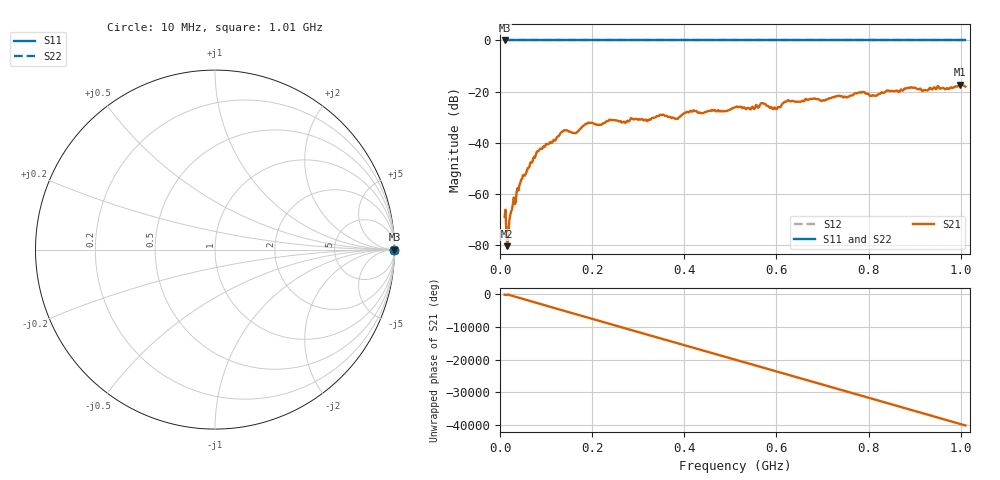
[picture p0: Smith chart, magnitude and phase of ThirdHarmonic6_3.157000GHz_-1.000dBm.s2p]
! 8/17/2025 9:28:12 AM
! C:\ANRITSUVNA\TEMP\TEMP.S2P
! CHANNEL.1
! TR.MEASUREMENT
! RAW.DATA
! RF.CORRECTION.OFF
! AVERAGING.OFF
! IF.BANDWIDTH: 5KHZ
! SWEEPTYPE:  FREQ.SWEEP(Linear)
! Reference Plane Port Info
! PORT:  PORT1  PORT2
! DISTANCE:  0  m  0  m
! TIME:  0  s  0  s
! PHASE.OFFSET:  0  deg.  0  deg.
! LOSS:  0  dB  0  dB
! REF.LOSS:  0  dB  0  dB
! REF.FREQ:  0  Hz  0  Hz
! Power Info
! POWER:  -20  dBm  -20  dBm
! EFF.POWER:  -20  dBm  -20  dBm
! SOURCE.ATTEN:  0  dB  0  dB
! TEST.ATTEN:  0  dB  0  dB
# GHZ S RI R 50.0
! FREQ.GHZ  S11RE  S11IM  S21RE  S21IM  S12RE  S12IM  S22RE  S22IM
!; PortSelection: Port_12
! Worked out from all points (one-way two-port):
!   501 points, 10 MHz to 1.01 GHz, reference 50 ohm
!   highest |S21| = -17.30 dB at 998 MHz (marker M1); lowest = -80.4 dB at 16 MHz (marker M2)
!   lowest |S11| = 0.0 dB at 10 MHz (marker M3)
!   |S11| at or under -10 dB: nowhere
!   |S22| runs from 0.0 to 0.0 dB; largest |S21 - S12| = 1.1
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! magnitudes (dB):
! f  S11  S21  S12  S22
! 10 MHz  0.0  -68.9  0.0  0.0
! 16 MHz  0.0  -80.4  0.0  0.0
! 18 MHz  0.0  -75.5  0.0  0.0
! 26 MHz  0.0  -66.2  0.0  0.0
! 46 MHz  0.0  -54.5  0.0  0.0
! 82 MHz  0.0  -43.4  0.0  0.0
! 136 MHz  0.0  -35.6  0.0  0.0
! 162 MHz  0.0  -36.2  0.0  0.0
! 178 MHz  0.0  -33.9  0.0  0.0
! 344 MHz  0.0  -29.6  0.0  0.0
! 382 MHz  0.0  -30.6  0.0  0.0
! 416 MHz  0.0  -27.8  0.0  0.0
! 510 MHz  0.0  -26.2  0.0  0.0
! 570 MHz  0.0  -24.5  0.0  0.0
! 596 MHz  0.0  -26.2  0.0  0.0
! 622 MHz  0.0  -23.8  0.0  0.0
! 678 MHz  0.0  -22.9  0.0  0.0
! 786 MHz  0.0  -20.3  0.0  0.0
! 814 MHz  0.0  -21.5  0.0  0.0
! 844 MHz  0.0  -19.7  0.0  0.0
! 998 MHz  0.0  -17.3  0.0  0.0
! 1.01 GHz  0.0  -18.0  0.0  0.0
